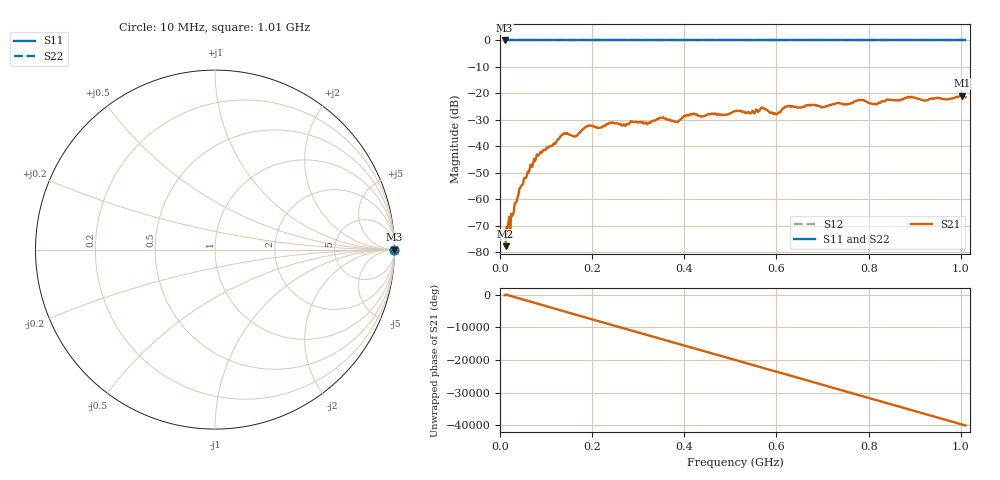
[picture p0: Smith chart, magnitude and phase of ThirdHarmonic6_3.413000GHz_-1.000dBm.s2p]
! 8/17/2025 10:56:00 AM
! C:\ANRITSUVNA\TEMP\TEMP.S2P
! CHANNEL.1
! TR.MEASUREMENT
! RAW.DATA
! RF.CORRECTION.OFF
! AVERAGING.OFF
! IF.BANDWIDTH: 5KHZ
! SWEEPTYPE:  FREQ.SWEEP(Linear)
! Reference Plane Port Info
! PORT:  PORT1  PORT2
! DISTANCE:  0  m  0  m
! TIME:  0  s  0  s
! PHASE.OFFSET:  0  deg.  0  deg.
! LOSS:  0  dB  0  dB
! REF.LOSS:  0  dB  0  dB
! REF.FREQ:  0  Hz  0  Hz
! Power Info
! POWER:  -20  dBm  -20  dBm
! EFF.POWER:  -20  dBm  -20  dBm
! SOURCE.ATTEN:  0  dB  0  dB
! TEST.ATTEN:  0  dB  0  dB
# GHZ S RI R 50.0
! FREQ.GHZ  S11RE  S11IM  S21RE  S21IM  S12RE  S12IM  S22RE  S22IM
!; PortSelection: Port_12
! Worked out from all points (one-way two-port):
!   501 points, 10 MHz to 1.01 GHz, reference 50 ohm
!   highest |S21| = -20.81 dB at 1.002 GHz (marker M1); lowest = -77.8 dB at 12 MHz (marker M2)
!   lowest |S11| = 0.0 dB at 10 MHz (marker M3)
!   |S11| at or under -10 dB: nowhere
!   |S22| runs from 0.0 to 0.0 dB; largest |S21 - S12| = 1.1
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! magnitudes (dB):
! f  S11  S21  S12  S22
! 10 MHz  0.0  -77.1  0.0  0.0
! 12 MHz  0.0  -77.8  0.0  0.0
! 16 MHz  0.0  -70.7  0.0  0.0
! 26 MHz  0.0  -66.4  0.0  0.0
! 44 MHz  0.0  -55.7  0.0  0.0
! 78 MHz  0.0  -44.3  0.0  0.0
! 136 MHz  0.0  -35.7  0.0  0.0
! 162 MHz  0.0  -36.4  0.0  0.0
! 178 MHz  0.0  -33.8  0.0  0.0
! 192 MHz  0.0  -32.2  0.0  0.0
! 322 MHz  0.0  -31.2  0.0  0.0
! 344 MHz  0.0  -29.7  0.0  0.0
! 382 MHz  0.0  -30.7  0.0  0.0
! 416 MHz  0.0  -28.1  0.0  0.0
! 510 MHz  0.0  -26.7  0.0  0.0
! 570 MHz  0.0  -25.5  0.0  0.0
! 598 MHz  0.0  -27.8  0.0  0.0
! 622 MHz  0.0  -25.0  0.0  0.0
! 678 MHz  0.0  -24.4  0.0  0.0
! 844 MHz  0.0  -22.5  0.0  0.0
! 1.002 GHz  0.0  -20.8  0.0  0.0
! 1.01 GHz  0.0  -21.4  0.0  0.0
